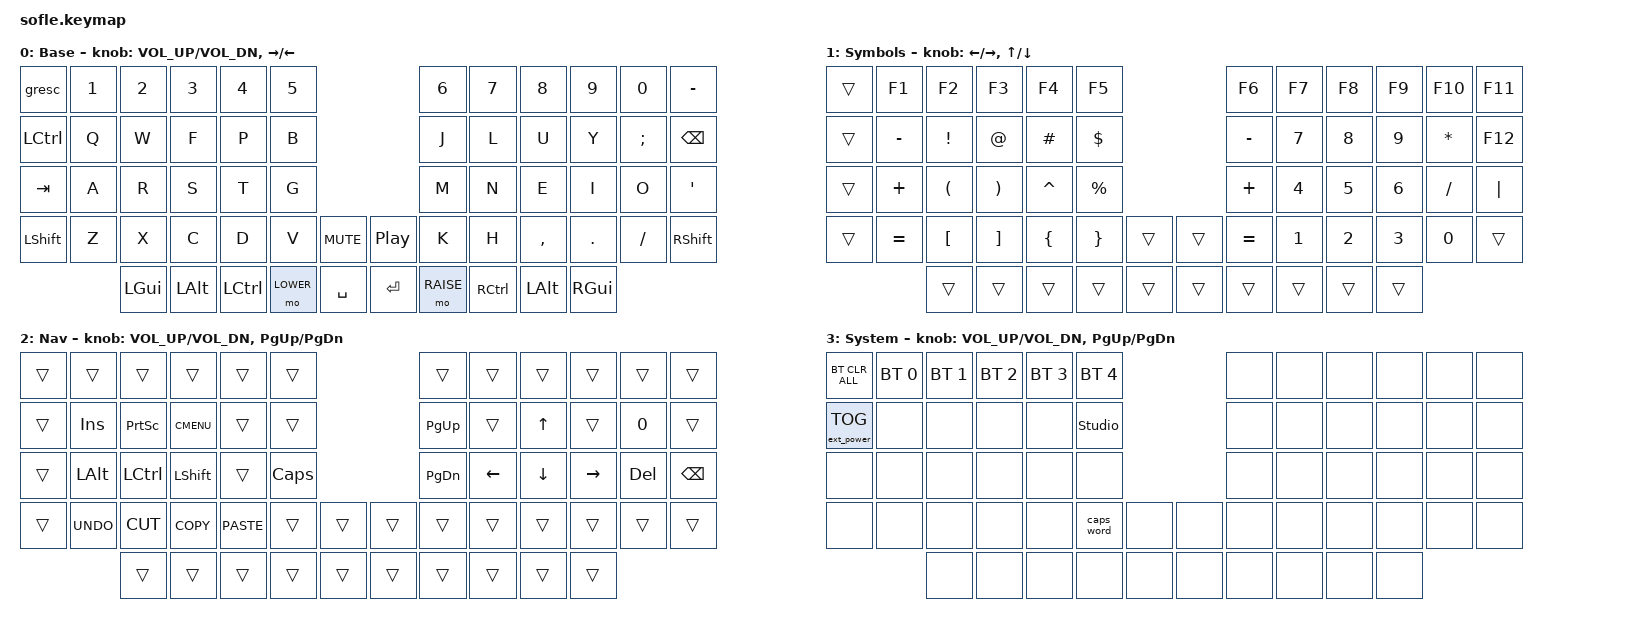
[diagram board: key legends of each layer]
/*
 * Copyright (c) 2020 The ZMK Contributors
 *
 * SPDX-License-Identifier: MIT
 */

#include <behaviors.dtsi>
#include <dt-bindings/zmk/bt.h>
#include <dt-bindings/zmk/ext_power.h>
#include <dt-bindings/zmk/keys.h>

// Encoders

&sensors { triggers-per-rotation = <30>; };

&left_encoder { steps = <60>; };

&right_encoder { steps = <60>; };

#define BASE 0
#define LOWER 1
#define RAISE 2
#define ADJUST 3

/ {
    // Activate ADJUST layer by pressing raise and lower

    conditional_layers {
        compatible = "zmk,conditional-layers";

        adjust_layer {
            if-layers = <LOWER RAISE>;
            then-layer = <ADJUST>;
        };
    };

    combos {
        compatible = "zmk,combos";

        backspace {
            bindings = <&kp BACKSPACE>;
            key-positions = <32 31>;
        };

        delete {
            bindings = <&kp DELETE>;
            key-positions = <27 33>;
        };

        esc {
            bindings = <&kp ESCAPE>;
            key-positions = <25 41>;
        };
    };

    behaviors {
        caps: caps {
            compatible = "zmk,behavior-caps-word";
            label = "CAPS";
            #binding-cells = <0>;
            continue-list = <POUND MINUS BACKSPACE UNDERSCORE>;
        };
    };

    keymap {
        compatible = "zmk,keymap";

        default_layer {
            display-name = "Base";

            // ------------------------------------------------------------------------------------------------------------
            // |   `   |  1  |  2  |  3   |  4   |  5   |                   |  6   |  7    |  8    |  9   |   0   |       |
            // |  ESC  |  Q  |  W  |  E   |  R   |  T   |                   |  Y   |  U    |  I    |  O   |   P   | BKSPC |
            // |  TAB  |  A  |  S  |  D   |  F   |  G   |                   |  H   |  J    |  K    |  L   |   ;   |   '   |
            // | SHIFT |  Z  |  X  |  C   |  V   |  B   |  MUTE  |  |       |  N   |  M    |  ,    |  .   |   /   | SHIFT |
            //               | GUI | ALT  | CTRL | LOWER|  ENTER |  | SPACE | RAISE| CTRL  | ALT   | GUI  |

            bindings = <
&gresc            &kp N1  &kp N2    &kp N3    &kp N4     &kp N5                                     &kp N6     &kp N7     &kp N8     &kp N9    &kp N0         &kp MINUS
&kp LEFT_CONTROL  &kp Q   &kp W     &kp F     &kp P      &kp B                                      &kp J      &kp L      &kp U      &kp Y     &kp SEMICOLON  &kp BSPC
&kp TAB           &kp A   &kp R     &kp S     &kp T      &kp G                                      &kp M      &kp N      &kp E      &kp I     &kp O          &kp SQT
&kp LEFT_SHIFT    &kp Z   &kp X     &kp C     &kp D      &kp V      &kp C_MUTE    &kp C_PLAY_PAUSE  &kp K      &kp H      &kp COMMA  &kp DOT   &kp FSLH       &kp RSHFT
                          &kp LGUI  &kp LALT  &kp LCTRL  &mo LOWER  &kp SPACE     &kp ENTER         &mo RAISE  &kp RCTRL  &kp LALT   &kp RGUI
            >;

            sensor-bindings =
                <&inc_dec_kp C_VOL_UP C_VOL_DN>,
                <&inc_dec_kp RIGHT LEFT>;
        };

        lower_layer {
            display-name = "Symbols";

            // TODO: Some binds are waiting for shifted keycode support.
            // ------------------------------------------------------------------------------------------------------------
            // |       |  F1 |  F2 |  F3  |  F4  |  F5  |                   |  F6  |  F7   |  F8   |  F9  |  F10  |  F11  |
            // |   `   |  1  |  2  |  3   |  4   |  5   |                   |  6   |  7    |  8    |  9   |   0   |  F12  |
            // |       |  !  |  @  |  #   |  $   |  %   |                   |  ^   |  &    |  *    |  (   |   )   |   |   |
            // |       |  =  |  -  |  +   |  {   |  }   |        |  |       |  [   |  ]    |  ;    |  :   |   \   |       |
            //               |     |      |      |      |        |  |       |      |       |       |      |

            bindings = <
&trans  &kp F1     &kp F2                &kp F3                 &kp F4     &kp F5                        &kp F6     &kp F7        &kp F8        &kp F9        &kp F10       &kp F11
&trans  &kp MINUS  &kp EXCLAMATION       &kp AT_SIGN            &kp HASH   &kp DOLLAR                    &kp MINUS  &kp NUMBER_7  &kp NUMBER_8  &kp NUMBER_9  &kp ASTERISK  &kp F12
&trans  &kp PLUS   &kp LEFT_PARENTHESIS  &kp RIGHT_PARENTHESIS  &kp CARET  &kp PRCNT                     &kp PLUS   &kp NUMBER_4  &kp NUMBER_5  &kp NUMBER_6  &kp FSLH      &kp PIPE
&trans  &kp EQUAL  &kp LEFT_BRACKET      &kp RIGHT_BRACKET      &kp LBRC   &kp RBRC    &trans    &trans  &kp EQUAL  &kp NUMBER_1  &kp NUMBER_2  &kp NUMBER_3  &kp NUMBER_0  &trans
                   &trans                &trans                 &trans     &trans      &trans    &trans  &trans     &trans        &trans        &trans
            >;

            sensor-bindings =
                <&inc_dec_kp LEFT_ARROW RIGHT_ARROW>,
                <&inc_dec_kp UP_ARROW DOWN_ARROW>;
        };

        raise_layer {
            display-name = "Nav";

            // ------------------------------------------------------------------------------------------------------------
            // | BTCLR | BT1  | BT2  |  BT3  |  BT4  |  BT5 |                |      |      |       |      |       |       |
            // |       | INS  | PSCR | GUI   |       |      |                | PGUP |      |   ^   |      |       |       |
            // |       | ALT  | CTRL | SHIFT |       | CAPS |                | PGDN |   <- |   v   |  ->  |  DEL  | BKSPC |
            // |       | UNDO | CUT  | COPY  | PASTE |      |      |  |      |      |      |       |      |       |       |
            //                |      |       |       |      |      |  |      |      |      |       |      |

            bindings = <
&trans  &trans      &trans     &trans       &trans       &trans                      &trans     &trans    &trans    &trans     &trans   &trans
&trans  &kp INS     &kp PSCRN  &kp K_CMENU  &trans       &trans                      &kp PG_UP  &trans    &kp UP    &trans     &kp N0   &trans
&trans  &kp LALT    &kp LCTRL  &kp LSHFT    &trans       &kp CLCK                    &kp PG_DN  &kp LEFT  &kp DOWN  &kp RIGHT  &kp DEL  &kp BSPC
&trans  &kp K_UNDO  &kp K_CUT  &kp K_COPY   &kp K_PASTE  &trans    &trans    &trans  &trans     &trans    &trans    &trans     &trans   &trans
                    &trans     &trans       &trans       &trans    &trans    &trans  &trans     &trans    &trans    &trans
            >;

            sensor-bindings = <&inc_dec_kp C_VOL_UP C_VOL_DN &inc_dec_kp PG_UP PG_DN>;
        };

        adjust_layer {
            // ----------------------------------------------------------------------------------------------------------------------------
            // | BTCLR  |  BT1    |  BT2    |   BT3   |   BT4   |   BT5   |                  |      |      |       |      |       |       |
            // | EXTPWR | RGB_HUD | RGB_HUI | RGB_SAD | RGB_SAI | RGB_EFF |                  |      |      |       |      |       |       |
            // |        | RGB_BRD | RGB_BRI |         |         |         |                  |      |      |       |      |       |       |
            // |        |         |         |         |         |         | RGB_TOG | |      |      |      |       |      |       |       |
            //                    |         |         |         |         |         | |      |      |      |       |      |

            display-name = "System";
            bindings = <
&bt BT_CLR_ALL     &bt BT_SEL 0  &bt BT_SEL 1  &bt BT_SEL 2  &bt BT_SEL 3  &bt BT_SEL 4                    &none  &none  &none  &none  &none  &none
&ext_power EP_TOG  &none         &none         &none         &none         &studio_unlock                  &none  &none  &none  &none  &none  &none
&none              &none         &none         &none         &none         &none                           &none  &none  &none  &none  &none  &none
&none              &none         &none         &none         &none         &caps_word      &none    &none  &none  &none  &none  &none  &none  &none
                                 &none         &none         &none         &none           &none    &none  &none  &none  &none  &none
            >;

            sensor-bindings = <&inc_dec_kp C_VOL_UP C_VOL_DN &inc_dec_kp PG_UP PG_DN>;
        };
    };
};
